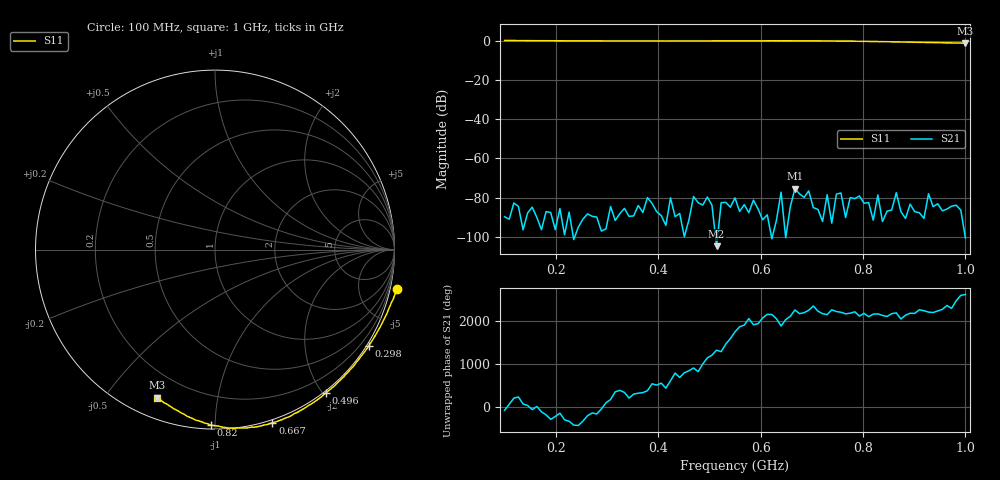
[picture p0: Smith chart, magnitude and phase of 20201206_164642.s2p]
# HZ S RI R 50
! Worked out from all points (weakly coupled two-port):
!   101 points, 100 MHz to 1 GHz, reference 50 ohm
!   highest |S21| = -75.46 dB at 667 MHz (marker M1); lowest = -104.9 dB at 514 MHz (marker M2)
!   lowest |S11| = -1.1 dB at 1 GHz (marker M3), VSWR 16.54, Z = 4.42 - j33.9 ohm
!   |S11| at or under -10 dB: nowhere
!   S12 and S22 are empty: the file has one direction only
!   S11 on the Smith chart (normalised r, x): 100 MHz: -1.61, -9.07; 298 MHz: -0.07, -3.49; 496 MHz: -0.02, -2.04; 667 MHz: -0.02, -1.39; 820 MHz: 0.02, -0.97; 1 GHz: 0.09, -0.68
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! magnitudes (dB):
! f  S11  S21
! 100 MHz  0.3  -89.8
! 253 MHz  0.1  -91.1
! 298 MHz  0.1  -96.0
! 406 MHz  0.1  -89.3
! 496 MHz  0.1  -79.7
! 514 MHz  0.1  -104.9
! 550 MHz  0.1  -80.2
! 631 MHz  0.1  -91.5
! 640 MHz  0.2  -77.2
! 658 MHz  0.2  -84.7
! 667 MHz  0.1  -75.5
! 685 MHz  0.1  -79.9
! 694 MHz  0.1  -76.6
! 703 MHz  0.1  -85.2
! 757 MHz  0.0  -77.7
! 766 MHz  0.0  -90.2
! 820 MHz  -0.2  -91.6
! 856 MHz  -0.4  -86.4
! 865 MHz  -0.4  -77.5
! 874 MHz  -0.5  -87.2
! 928 MHz  -0.7  -78.1
! 1 GHz  -1.1  -100.6
